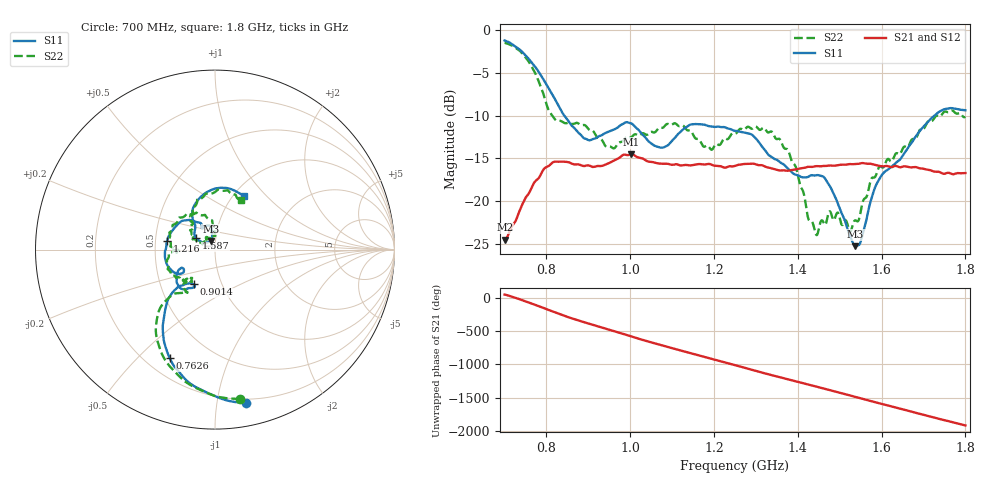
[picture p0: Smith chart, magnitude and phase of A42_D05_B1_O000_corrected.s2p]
! Created with skrf 1.9.0 (http://scikit-rf.org).
# Hz S RI R 50.0
!freq ReS11 ImS11 ReS21 ImS21 ReS12 ImS12 ReS22 ImS22
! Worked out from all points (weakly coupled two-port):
!   1601 points, 700 MHz to 1.8 GHz, reference 50 ohm
!   highest |S21| = -14.53 dB at 1.002 GHz (marker M1); lowest = -24.5 dB at 700.7 MHz (marker M2)
!   lowest |S11| = -25.3 dB at 1.537 GHz (marker M3), VSWR 1.11, Z = 47.4 + j4.64 ohm
!   |S11| at or under -10 dB: 842.2 MHz to 1.726 GHz (883.9 MHz wide, 68.8 % of centre)
!   |S22| runs from -24.0 to -1.5 dB; largest |S21 - S12| = 0.0035
!   S11 on the Smith chart (normalised r, x): 700 MHz: 0.17, -1.21; 762.6 MHz: 0.30, -0.63; 901.4 MHz: 0.74, -0.30; 1.216 GHz: 0.58, +0.06; 1.587 GHz: 0.80, +0.10; 1.8 GHz: 1.12, +0.75
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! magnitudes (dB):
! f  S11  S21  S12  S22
! 700 MHz  -1.2  -24.5  -24.3  -1.5
! 700.7 MHz  -1.2  -24.5  -24.2  -1.5
! 762.6 MHz  -3.7  -18.7  -18.6  -4.1
! 818.2 MHz  -7.9  -15.4  -15.5  -10.3
! 883.6 MHz  -12.4  -15.9  -15.7  -11.1
! 901.4 MHz  -12.9  -15.8  -15.8  -11.6
! 958.5 MHz  -11.7  -15.3  -15.3  -13.8
! 1.002 GHz  -10.9  -14.5  -14.6  -12.5
! 1.067 GHz  -13.7  -15.6  -15.6  -11.5
! 1.144 GHz  -11.1  -15.8  -15.8  -11.8
! 1.216 GHz  -11.4  -15.9  -16.0  -13.3
! 1.25 GHz  -11.8  -15.9  -15.8  -12.1
! 1.357 GHz  -15.5  -16.4  -16.4  -12.8
! 1.394 GHz  -16.9  -16.3  -16.3  -15.9
! 1.434 GHz  -17.0  -16.0  -16.0  -22.4
! 1.445 GHz  -17.0  -15.9  -15.9  -24.0
! 1.472 GHz  -17.9  -15.9  -15.9  -21.6
! 1.537 GHz  -25.3  -15.7  -15.7  -22.3
! 1.587 GHz  -18.1  -15.8  -15.8  -17.0
! 1.617 GHz  -16.2  -16.0  -15.9  -15.1
! 1.732 GHz  -9.8  -16.6  -16.6  -10.0
! 1.8 GHz  -9.4  -16.7  -16.7  -10.2
